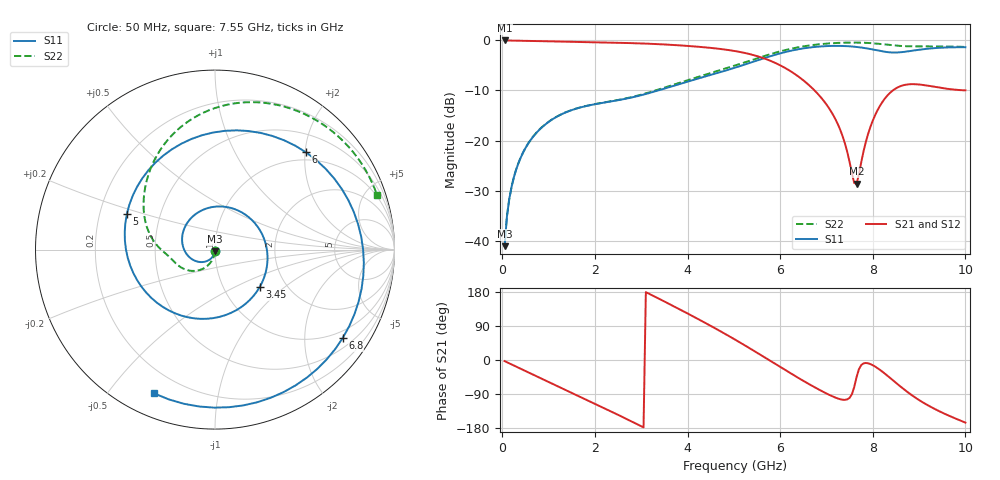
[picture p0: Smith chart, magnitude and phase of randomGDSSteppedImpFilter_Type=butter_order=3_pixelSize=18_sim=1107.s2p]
! freq	dB(S11)	phase(S11)	dB(S12)	phase(S12)
!  dB(S21)	phase(S21)	dB(S22)	phase(S22)
!S-par simulation data
#  GHz  S  DB  R 50
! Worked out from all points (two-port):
!   200 points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, 50 MHz to 10 GHz, reference 50 ohm
!   highest |S21| = -0.01 dB at 50 MHz (marker M1); lowest = -28.6 dB at 7.65 GHz (marker M2)
!   |S21| within 3 dB of the highest: start of sweep to 5.455 GHz
!   lowest |S11| = -41.1 dB at 50 MHz (marker M3), VSWR 1.02, Z = 50 - j0.879 ohm
!   |S11| at or under -10 dB: start of sweep to 3.364 GHz
!   |S22| runs from -41.1 to -0.4 dB; largest |S21 - S12| = 0
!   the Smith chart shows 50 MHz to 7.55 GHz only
!   S11 on the Smith chart (normalised r, x): 50 MHz: 1.00, -0.02; 3.45 GHz: 1.47, -0.69; 5 GHz: 0.32, +0.18; 6 GHz: 0.84, +2.02; 6.8 GHz: 0.77, -3.02; 7.55 GHz: 0.10, -0.66
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0.05  -41.10 -92.7  -0.01 -3.0  -0.01 -3.0  -41.08 -91.0
0.2  -29.25 -104.8  -0.03 -11.7  -0.03 -11.7  -29.23 -98.1
0.5  -21.51 -128.0  -0.07 -29.1  -0.07 -29.1  -21.48 -110.9
1.75  -13.24 131.2  -0.33 -100.9  -0.33 -100.9  -13.22 -154.4
2.65  -11.68 44.0  -0.50 -153.7  -0.50 -153.7  -11.62 -172.3
3.4  -9.90 -34.8  -0.76 160.6  -0.76 160.6  -9.73 175.4
3.45  -9.76 -40.0  -0.78 157.5  -0.78 157.5  -9.58 174.4
4.25  -7.55 -122.2  -1.27 106.6  -1.27 106.6  -7.23 154.8
5  -5.52 157.9  -2.09 55.7  -2.09 55.7  -5.09 132.0
5.05  -5.37 152.4  -2.16 52.2  -2.16 52.2  -4.94 130.3
5.55  -3.86 96.4  -3.27 15.5  -3.27 15.5  -3.43 111.9
6  -2.59 46.9  -4.97 -18.3  -4.97 -18.3  -2.19 92.4
6.7  -1.35 -24.9  -9.59 -68.9  -9.59 -68.9  -0.92 58.8
6.8  -1.25 -34.7  -10.54 -75.6  -10.54 -75.6  -0.81 54.0
7.55  -1.21 -113.0  -26.57 -90.1  -26.57 -90.1  -0.42 18.6
7.65  -1.30 -125.3  -28.64 -45.2  -28.64 -45.2  -0.43 14.0
8.05  -1.91 175.0  -14.94 -17.3  -14.94 -17.3  -0.61 -3.5
8.35  -2.37 117.9  -10.67 -44.8  -10.67 -44.8  -0.89 -15.2
8.6  -2.36 68.6  -9.13 -70.2  -9.13 -70.2  -1.10 -23.6
9  -1.86 5.2  -8.80 -105.7  -8.80 -105.7  -1.19 -36.3
9.5  -1.44 -46.0  -9.51 -139.0  -9.51 -139.0  -1.19 -53.0
10  -1.36 -81.0  -9.97 -165.2  -9.97 -165.2  -1.30 -70.5
